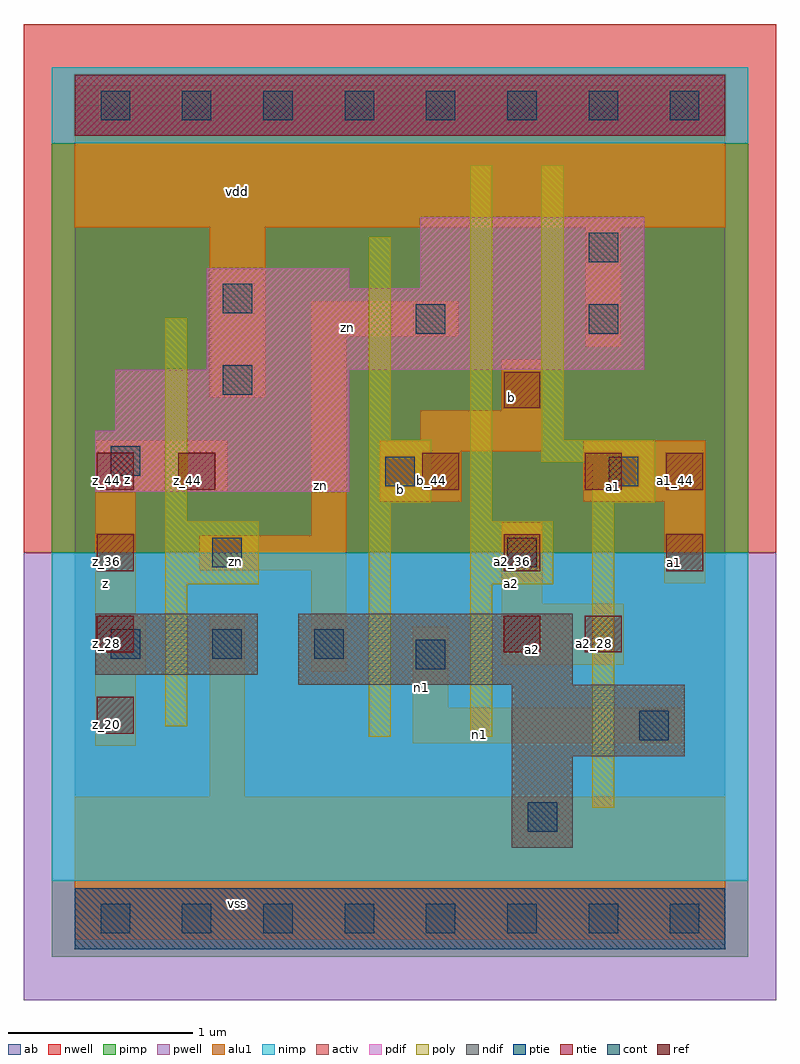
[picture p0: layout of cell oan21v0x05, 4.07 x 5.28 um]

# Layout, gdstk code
import gdstk
lib = gdstk.Library(unit=1e-6, precision=2.5e-09)
def R(c, l, rs):  # rectangles x0, y0, x1, y1
    for r in rs: c.add(gdstk.rectangle(r[:2], r[2:], *l))
def A(c, l, x, y, w, h, nx, ny, dx, dy):  # array of equal rectangles
    R(c, l, [(x+i*dx, y+j*dy, x+i*dx+w, y+j*dy+h) for i in range(nx) for j in range(ny)])
ndif = (3, 0)
pdif = (4, 0)
ntie = (5, 0)
ptie = (6, 0)
ref = (24, 0)
cont = (25, 0)
pwell = (41, 0)
nwell = (42, 0)
activ = (43, 0)
pimp = (44, 0)
nimp = (45, 0)
poly = (46, 0)
alu1 = (49, 0)
ab = (63, 0)

oan21v0x05 = lib.new_cell('oan21v0x05')
R(oan21v0x05, ndif, [(2.365,0.385,2.695,0.88), (2.365,0.88,3.3,1.265), (1.21,1.265,2.695,1.65), (0.11,1.32,0.99,1.65)])
R(oan21v0x05, pdif, [(0.11,2.31,1.485,2.64), (0.22,2.64,1.485,2.97), (0.715,2.97,3.08,3.41), (0.715,3.41,1.485,3.52), (1.87,3.41,3.08,3.795)])
R(oan21v0x05, ntie, [(0,4.235,3.52,4.565)])
R(oan21v0x05, ptie, [(0,-0.165,3.52,0.165)])
A(oan21v0x05, ref, 0.12, 1, 0.2, 0.2, 1, 4, 0, 0.44)
R(oan21v0x05, ref, [(2.32,1.44,2.52,1.64), (2.76,1.44,2.96,1.64), (2.32,1.88,2.52,2.08), (3.2,1.88,3.4,2.08), (0.56,2.32,0.76,2.52), (1.88,2.32,2.08,2.52), (2.76,2.32,2.96,2.52), (3.2,2.32,3.4,2.52), (2.32,2.76,2.52,2.96)])
A(oan21v0x05, cont, 0.14, -0.08, 0.16, 0.16, 8, 2, 0.44, 4.4)
A(oan21v0x05, cont, 0.195, 1.405, 0.16, 0.16, 3, 1, 0.55, 0)
R(oan21v0x05, cont, [(2.45,0.47,2.61,0.63), (3.055,0.965,3.215,1.125), (1.845,1.35,2.005,1.51), (0.745,1.9,0.905,2.06), (2.34,1.9,2.5,2.06), (1.68,2.34,1.84,2.5), (2.89,2.34,3.05,2.5), (0.195,2.395,0.355,2.555), (0.8,2.835,0.96,2.995), (1.845,3.165,2.005,3.325), (2.78,3.165,2.94,3.325), (0.8,3.275,0.96,3.435), (2.78,3.55,2.94,3.71)])
R(oan21v0x05, pwell, [(-0.275,-0.44,3.795,1.98)])
R(oan21v0x05, nwell, [(-0.275,1.98,3.795,4.84)])
R(oan21v0x05, activ, [(0,-0.165,3.52,0.165), (2.365,0.385,2.695,0.88), (2.365,0.88,3.3,1.265), (1.21,1.265,2.695,1.65), (0.11,1.32,0.99,1.65), (0.11,2.31,1.485,2.64), (0.22,2.64,1.485,2.97), (0.715,2.97,3.08,3.41), (0.715,3.41,1.485,3.52), (1.87,3.41,3.08,3.795), (0,4.235,3.52,4.565)])
R(oan21v0x05, pimp, [(-0.125,-0.205,3.645,0.205), (-0.125,1.98,3.645,4.195)])
R(oan21v0x05, nimp, [(-0.125,0.205,3.645,1.98), (-0.125,4.195,3.645,4.605)])
R(oan21v0x05, poly, [(2.8,0.6,2.92,2.25), (1.59,0.985,1.71,2.25), (2.14,0.985,2.26,1.81), (0.49,1.04,0.61,1.81), (0.49,1.81,0.995,2.15), (2.14,1.81,2.59,2.15), (0.49,2.15,0.61,3.25), (2.14,2.15,2.26,4.075), (1.59,2.25,1.93,2.59), (2.8,2.25,3.14,2.47), (2.525,2.47,3.14,2.59), (1.59,2.59,1.71,3.69), (2.525,2.59,2.645,4.075)])
R(oan21v0x05, alu1, [(0,-0.11,3.52,0.66), (0.73,0.66,0.92,1.635), (0.11,0.935,0.33,1.32), (1.83,0.95,3.285,1.14), (1.83,1.14,2.02,1.58), (0.11,1.32,0.385,1.65), (1.28,1.335,1.47,1.885), (2.31,1.375,2.97,1.705), (0.11,1.65,0.33,2.31), (2.31,1.705,2.53,2.145), (3.19,1.815,3.41,2.255), (0.675,1.885,1.47,2.075), (1.28,2.075,1.47,3.15), (1.65,2.255,2.09,2.53), (2.75,2.255,3.41,2.585), (0.11,2.31,0.825,2.585), (1.65,2.53,2.53,2.585), (1.87,2.585,2.53,2.75), (2.31,2.75,2.53,3.025), (0.73,2.82,1.03,3.74), (2.765,3.095,2.955,3.74), (1.28,3.15,2.075,3.34), (0,3.74,3.52,4.51)])
R(oan21v0x05, ab, [(0,0,3.52,4.4)])
oan21v0x05.add(gdstk.Label('vss', (0.88,0.0825), layer=49, texttype=0))
oan21v0x05.add(gdstk.Label('n1', (2.1925,0.9975), layer=49, texttype=0))
oan21v0x05.add(gdstk.Label('a2', (2.475,1.4575), layer=49, texttype=0))
oan21v0x05.add(gdstk.Label('n1', (1.8775,1.25), layer=49, texttype=0))
oan21v0x05.add(gdstk.Label('a1', (3.245,1.925), layer=49, texttype=0))
oan21v0x05.add(gdstk.Label('a2', (2.365,1.815), layer=49, texttype=0))
oan21v0x05.add(gdstk.Label('zn', (0.8725,1.9325), layer=49, texttype=0))
oan21v0x05.add(gdstk.Label('a1', (2.915,2.3375), layer=49, texttype=0))
oan21v0x05.add(gdstk.Label('b', (1.76,2.3225), layer=49, texttype=0))
oan21v0x05.add(gdstk.Label('b', (2.365,2.8175), layer=49, texttype=0))
oan21v0x05.add(gdstk.Label('zn', (1.3275,2.3425), layer=49, texttype=0))
oan21v0x05.add(gdstk.Label('z', (0.165,1.815), layer=49, texttype=0))
oan21v0x05.add(gdstk.Label('z', (0.2875,2.3775), layer=49, texttype=0))
oan21v0x05.add(gdstk.Label('zn', (1.4775,3.1975), layer=49, texttype=0))
oan21v0x05.add(gdstk.Label('vdd', (0.88,3.9325), layer=49, texttype=0))
oan21v0x05.add(gdstk.Label('z_44', (0.17,2.37), layer=24, texttype=0))
oan21v0x05.add(gdstk.Label('z_36', (0.17,1.93), layer=24, texttype=0))
oan21v0x05.add(gdstk.Label('z_28', (0.17,1.49), layer=24, texttype=0))
oan21v0x05.add(gdstk.Label('z_20', (0.17,1.05), layer=24, texttype=0))
oan21v0x05.add(gdstk.Label('a2_28', (2.81,1.49), layer=24, texttype=0))
oan21v0x05.add(gdstk.Label('a2_28', (2.37,1.49), layer=24, texttype=0))
oan21v0x05.add(gdstk.Label('a2_36', (2.37,1.93), layer=24, texttype=0))
oan21v0x05.add(gdstk.Label('a1_44', (3.25,2.37), layer=24, texttype=0))
oan21v0x05.add(gdstk.Label('a1_44', (2.81,2.37), layer=24, texttype=0))
oan21v0x05.add(gdstk.Label('b_44', (1.93,2.37), layer=24, texttype=0))
oan21v0x05.add(gdstk.Label('b_52', (2.37,2.81), layer=24, texttype=0))
oan21v0x05.add(gdstk.Label('z_44', (0.61,2.37), layer=24, texttype=0))
oan21v0x05.add(gdstk.Label('a1_36', (3.25,1.93), layer=24, texttype=0))

lib.write_gds('oan21v0x05.gds')
